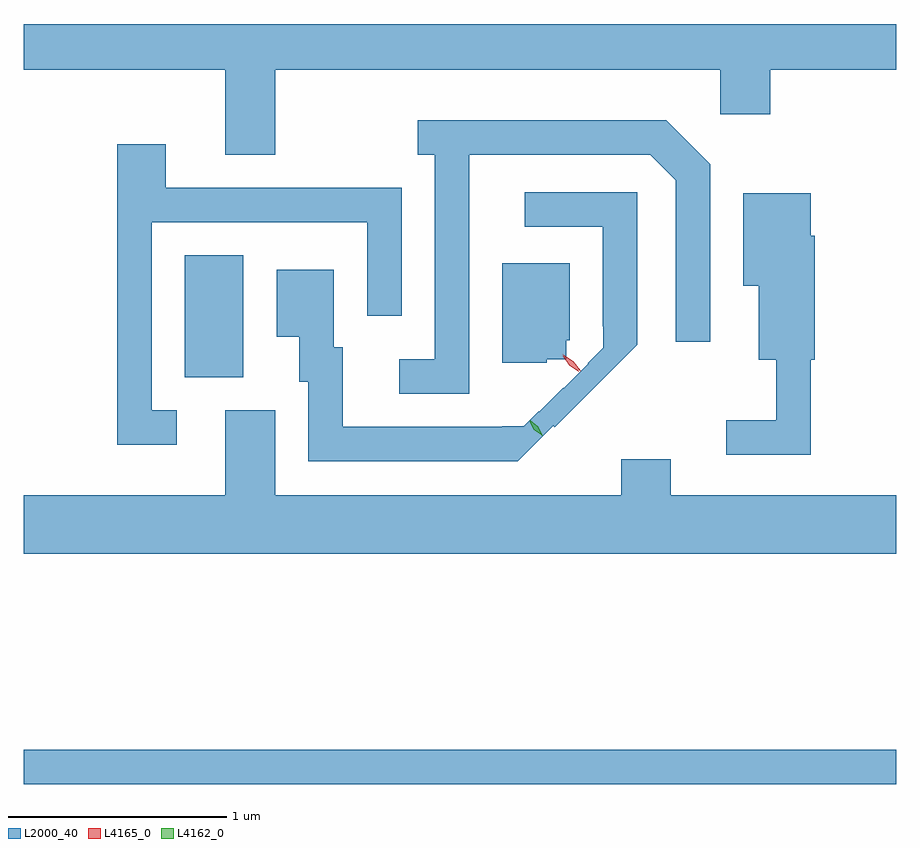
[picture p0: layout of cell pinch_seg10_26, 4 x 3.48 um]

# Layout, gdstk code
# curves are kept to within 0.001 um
import gdstk
lib = gdstk.Library(unit=1e-6, precision=1e-09)
def R(c, l, rs):  # rectangles x0, y0, x1, y1
    for r in rs: c.add(gdstk.rectangle(r[:2], r[2:], *l))
def P(c, l, *ps):  # polygons
    for p in ps: c.add(gdstk.Polygon(p, *l))
L2000_40 = (2000, 40)
L4162_0 = (4162, 0)
L4165_0 = (4165, 0)

pinch_seg10_26 = lib.new_cell('pinch_seg10_26')
R(pinch_seg10_26, L2000_40, [(615.567,2146.161,619.567,2146.319), (616.306,2148.026,616.574,2148.584)])
P(pinch_seg10_26, L2000_40, [(616.719,2149.436),(618.761,2149.436),(618.761,2149.231),(618.989,2149.231),(618.989,2149.436),(619.567,2149.436),(619.567,2149.645),(615.567,2149.645),(615.567,2149.436),(616.491,2149.436),(616.491,2149.046),(616.719,2149.046)],
  [(617.609,2149.046),(618.439,2149.046),(618.556,2148.929),(618.556,2148.188),(618.714,2148.188),(618.714,2149.002),(618.512,2149.204),(617.373,2149.204),(617.373,2149.046),(617.451,2149.046),(617.451,2148.109),(617.288,2148.109),(617.288,2147.951),(617.609,2147.951)],
  [(616.268,2147.874),(616.154,2147.874),(616.154,2148.736),(617.141,2148.736),(617.141,2148.308),(617.299,2148.308),(617.299,2148.894),(616.219,2148.894),(616.219,2149.094),(615.996,2149.094),(615.996,2147.716),(616.268,2147.716)],
  [(617.905,2147.714),(617.995,2147.803),(618.001,2147.796),(618.379,2148.174),(618.379,2148.874),(617.863,2148.874),(617.863,2148.716),(618.221,2148.716),(618.221,2148.259),(618.224,2148.259),(618.224,2148.161),(618.153,2148.09),(618.155,2148.088),(618.043,2147.976),(618.041,2147.978),(617.93,2147.867),(617.928,2147.87),(617.859,2147.801),(617.761,2147.801),(617.761,2147.799),(617.029,2147.799),(617.029,2148.164),(616.989,2148.164),(616.989,2148.519),(616.726,2148.519),(616.726,2148.211),(616.831,2148.211),(616.831,2148.006),(616.871,2148.006),(616.871,2147.641),(617.832,2147.641)],
  [(619.174,2148.106),(619.194,2148.106),(619.194,2148.674),(619.174,2148.674),(619.174,2148.869),(618.866,2148.869),(618.866,2148.446),(618.936,2148.446),(618.936,2148.106),(619.016,2148.106),(619.016,2147.829),(618.788,2147.829),(618.788,2147.671),(619.174,2147.671)],
  [(617.965,2148.108),(618.055,2148.108),(618.055,2148.195),(618.069,2148.195),(618.069,2148.549),(617.761,2148.549),(617.761,2148.091),(617.965,2148.091)],
  [(619.567,2147.484),(618.534,2147.484),(618.534,2147.649),(618.306,2147.649),(618.306,2147.484),(616.719,2147.484),(616.719,2147.874),(616.491,2147.874),(616.491,2147.484),(615.567,2147.484),(615.567,2147.216),(619.567,2147.216)])
P(pinch_seg10_26, L4162_0, [(617.945,2147.757),(617.909,2147.787),(617.887,2147.829),(617.887,2147.829),(617.888,2147.829),(617.924,2147.8),(617.946,2147.758),(617.946,2147.757)],
  [(617.94,2147.761),(617.906,2147.785),(617.887,2147.821),(617.887,2147.822),(617.888,2147.822),(617.922,2147.798),(617.94,2147.762),(617.94,2147.761)])
P(pinch_seg10_26, L4165_0, [(618.12,2148.054),(618.073,2148.085),(618.038,2148.13),(618.038,2148.131),(618.039,2148.131),(618.086,2148.1),(618.121,2148.055),(618.121,2148.054)],
  [(618.111,2148.051),(618.068,2148.081),(618.038,2148.124),(618.038,2148.125),(618.038,2148.125),(618.082,2148.095),(618.112,2148.052),(618.112,2148.051)])

lib.write_gds('pinch_seg10_26.gds')
